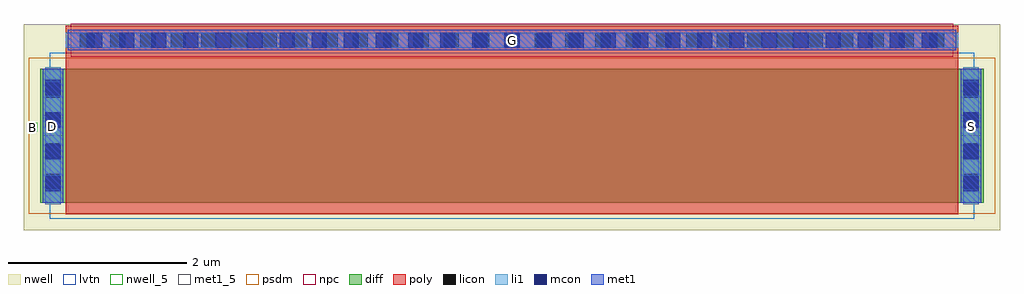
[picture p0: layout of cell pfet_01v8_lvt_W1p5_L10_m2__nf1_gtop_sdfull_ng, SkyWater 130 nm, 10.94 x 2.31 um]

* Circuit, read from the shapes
.subckt pfet_01v8_lvt_W1p5_L10_m2__nf1_gtop_sdfull_ng B D G S
XM1 S G D B sky130_fd_pr__pfet_01v8_lvt w=1.5 l=10
.ends

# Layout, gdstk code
import gdstk
lib = gdstk.Library(unit=1e-6, precision=1e-09)
def R(c, l, rs):  # rectangles x0, y0, x1, y1
    for r in rs: c.add(gdstk.rectangle(r[:2], r[2:], *l))
def A(c, l, x, y, w, h, nx, ny, dx, dy):  # array of equal rectangles
    R(c, l, [(x+i*dx, y+j*dy, x+i*dx+w, y+j*dy+h) for i in range(nx) for j in range(ny)])
nwell_5 = (64, 5)
nwell = (64, 20)
diff = (65, 20)
poly = (66, 20)
licon = (66, 44)
li1 = (67, 20)
mcon = (67, 44)
met1_5 = (68, 5)
met1 = (68, 20)
psdm = (94, 20)
npc = (95, 20)
lvtn = (125, 44)

sky130_fd_pr__pfet_01v8_ = lib.new_cell('sky130_fd_pr__pfet_01v8_lvt_DNY7J4')
R(sky130_fd_pr__pfet_01v8_, nwell, [(-5.47,-1.24,5.47,1.07)])
R(sky130_fd_pr__pfet_01v8_, diff, [(-5.29,-0.93,5.29,0.57)])
R(sky130_fd_pr__pfet_01v8_, poly, [(-5,-1.06,5,1.055)])
A(sky130_fd_pr__pfet_01v8_, licon, -5.23, -0.775, 0.17, 0.17, 1, 4, 0, 0.34)
A(sky130_fd_pr__pfet_01v8_, licon, 5.06, -0.775, 0.17, 0.17, 1, 4, 0, 0.34)
A(sky130_fd_pr__pfet_01v8_, licon, -4.845, 0.805, 0.17, 0.17, 29, 1, 0.34, 0)
R(sky130_fd_pr__pfet_01v8_, li1, [(-5.23,-0.95,-5.06,0.59), (5.06,-0.95,5.23,0.59), (-5,0.805,5,0.975)])
A(sky130_fd_pr__pfet_01v8_, mcon, -5.23, -0.805, 0.17, 0.17, 1, 4, 0, 0.36)
A(sky130_fd_pr__pfet_01v8_, mcon, 5.06, -0.805, 0.17, 0.17, 1, 4, 0, 0.36)
A(sky130_fd_pr__pfet_01v8_, mcon, -4.765, 0.805, 0.17, 0.17, 27, 1, 0.36, 0)
R(sky130_fd_pr__pfet_01v8_, met1, [(-5.26,-0.93,-5.03,0.57), (5.03,-0.93,5.26,0.57), (-4.98,0.775,4.98,1.005)])
R(sky130_fd_pr__pfet_01v8_, psdm, [(-5.415,-1.055,5.415,0.695)])
R(sky130_fd_pr__pfet_01v8_, npc, [(-4.945,0.705,4.945,1.075)])
R(sky130_fd_pr__pfet_01v8_, lvtn, [(-5.18,-1.11,5.18,0.75)])
sky130_fd_pr__pfet_01v8_.add(gdstk.Label('D', (-5.145,-0.18), layer=67, texttype=5))
sky130_fd_pr__pfet_01v8_.add(gdstk.Label('S', (5.145,-0.18), layer=67, texttype=5))
sky130_fd_pr__pfet_01v8_.add(gdstk.Label('G', (0,0.89), layer=67, texttype=5))

pfet_01v8_lvt_w1p5_l10_m = lib.new_cell('pfet_01v8_lvt_W1p5_L10_m2__nf1_gtop_sdfull_ng')
R(pfet_01v8_lvt_w1p5_l10_m, nwell_5, [(0.05,1.105,0.15,1.205)])
R(pfet_01v8_lvt_w1p5_l10_m, nwell, [(0.05,1.105,0.15,1.205)])
R(pfet_01v8_lvt_w1p5_l10_m, met1_5, [(0.21,1.06,0.44,1.26), (10.5,1.06,10.73,1.26), (0.49,2.015,10.45,2.245)])
R(pfet_01v8_lvt_w1p5_l10_m, met1, [(0.21,1.06,0.44,1.26), (10.5,1.06,10.73,1.26), (0.49,2.015,10.45,2.245)])
pfet_01v8_lvt_w1p5_l10_m.add(gdstk.Reference(sky130_fd_pr__pfet_01v8_, (5.47,1.24)))
pfet_01v8_lvt_w1p5_l10_m.add(gdstk.Label('D', (0.325,1.16), layer=68, texttype=5))
pfet_01v8_lvt_w1p5_l10_m.add(gdstk.Label('S', (10.615,1.16), layer=68, texttype=5))
pfet_01v8_lvt_w1p5_l10_m.add(gdstk.Label('G', (5.47,2.13), layer=68, texttype=5))
pfet_01v8_lvt_w1p5_l10_m.add(gdstk.Label('B', (0.1,1.155), layer=64, texttype=5))

lib.write_gds('pfet_01v8_lvt_W1p5_L10_m2__nf1_gtop_sdfull_ng.gds')
